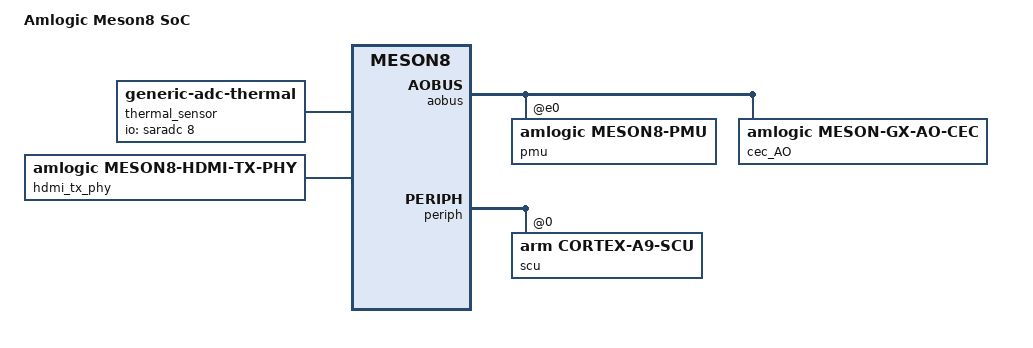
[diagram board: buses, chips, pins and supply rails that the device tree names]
// SPDX-License-Identifier: GPL-2.0 OR MIT
/*
 * Copyright 2014 Carlo Caione <carlo@caione.org>
 */

#include <dt-bindings/clock/meson8-ddr-clkc.h>
#include <dt-bindings/clock/meson8b-clkc.h>
#include <dt-bindings/gpio/meson8-gpio.h>
#include <dt-bindings/power/meson8-power.h>
#include <dt-bindings/reset/amlogic,meson8b-clkc-reset.h>
#include <dt-bindings/reset/amlogic,meson8b-reset.h>
#include <dt-bindings/thermal/thermal.h>
#include "meson.dtsi"

/ {
	model = "Amlogic Meson8 SoC";
	compatible = "amlogic,meson8";

	cpus {
		#address-cells = <1>;
		#size-cells = <0>;

		cpu0: cpu@200 {
			device_type = "cpu";
			compatible = "arm,cortex-a9";
			next-level-cache = <&L2>;
			reg = <0x200>;
			enable-method = "amlogic,meson8-smp";
			resets = <&clkc CLKC_RESET_CPU0_SOFT_RESET>;
			operating-points-v2 = <&cpu_opp_table>;
			clocks = <&clkc CLKID_CPUCLK>;
			#cooling-cells = <2>; /* min followed by max */
		};

		cpu1: cpu@201 {
			device_type = "cpu";
			compatible = "arm,cortex-a9";
			next-level-cache = <&L2>;
			reg = <0x201>;
			enable-method = "amlogic,meson8-smp";
			resets = <&clkc CLKC_RESET_CPU1_SOFT_RESET>;
			operating-points-v2 = <&cpu_opp_table>;
			clocks = <&clkc CLKID_CPUCLK>;
			#cooling-cells = <2>; /* min followed by max */
		};

		cpu2: cpu@202 {
			device_type = "cpu";
			compatible = "arm,cortex-a9";
			next-level-cache = <&L2>;
			reg = <0x202>;
			enable-method = "amlogic,meson8-smp";
			resets = <&clkc CLKC_RESET_CPU2_SOFT_RESET>;
			operating-points-v2 = <&cpu_opp_table>;
			clocks = <&clkc CLKID_CPUCLK>;
			#cooling-cells = <2>; /* min followed by max */
		};

		cpu3: cpu@203 {
			device_type = "cpu";
			compatible = "arm,cortex-a9";
			next-level-cache = <&L2>;
			reg = <0x203>;
			enable-method = "amlogic,meson8-smp";
			resets = <&clkc CLKC_RESET_CPU3_SOFT_RESET>;
			operating-points-v2 = <&cpu_opp_table>;
			clocks = <&clkc CLKID_CPUCLK>;
			#cooling-cells = <2>; /* min followed by max */
		};
	};

	cpu_opp_table: opp-table {
		compatible = "operating-points-v2";
		opp-shared;

		opp-96000000 {
			opp-hz = /bits/ 64 <96000000>;
			opp-microvolt = <825000>;
		};
		opp-192000000 {
			opp-hz = /bits/ 64 <192000000>;
			opp-microvolt = <825000>;
		};
		opp-312000000 {
			opp-hz = /bits/ 64 <312000000>;
			opp-microvolt = <825000>;
		};
		opp-408000000 {
			opp-hz = /bits/ 64 <408000000>;
			opp-microvolt = <825000>;
		};
		opp-504000000 {
			opp-hz = /bits/ 64 <504000000>;
			opp-microvolt = <825000>;
		};
		opp-600000000 {
			opp-hz = /bits/ 64 <600000000>;
			opp-microvolt = <850000>;
		};
		opp-720000000 {
			opp-hz = /bits/ 64 <720000000>;
			opp-microvolt = <850000>;
		};
		opp-816000000 {
			opp-hz = /bits/ 64 <816000000>;
			opp-microvolt = <875000>;
		};
		opp-1008000000 {
			opp-hz = /bits/ 64 <1008000000>;
			opp-microvolt = <925000>;
		};
		opp-1200000000 {
			opp-hz = /bits/ 64 <1200000000>;
			opp-microvolt = <975000>;
		};
		opp-1416000000 {
			opp-hz = /bits/ 64 <1416000000>;
			opp-microvolt = <1025000>;
		};
		opp-1608000000 {
			opp-hz = /bits/ 64 <1608000000>;
			opp-microvolt = <1100000>;
		};
		opp-1800000000 {
			status = "disabled";
			opp-hz = /bits/ 64 <1800000000>;
			opp-microvolt = <1125000>;
		};
		opp-1992000000 {
			status = "disabled";
			opp-hz = /bits/ 64 <1992000000>;
			opp-microvolt = <1150000>;
		};
	};

	gpu_opp_table: gpu-opp-table {
		compatible = "operating-points-v2";

		opp-182142857 {
			opp-hz = /bits/ 64 <182142857>;
			opp-microvolt = <1150000>;
		};
		opp-318750000 {
			opp-hz = /bits/ 64 <318750000>;
			opp-microvolt = <1150000>;
		};
		opp-425000000 {
			opp-hz = /bits/ 64 <425000000>;
			opp-microvolt = <1150000>;
		};
		opp-510000000 {
			opp-hz = /bits/ 64 <510000000>;
			opp-microvolt = <1150000>;
		};
		opp-637500000 {
			opp-hz = /bits/ 64 <637500000>;
			opp-microvolt = <1150000>;
			turbo-mode;
		};
	};

	pmu {
		compatible = "arm,cortex-a9-pmu";
		interrupts = <GIC_SPI 137 IRQ_TYPE_LEVEL_HIGH>,
			     <GIC_SPI 138 IRQ_TYPE_LEVEL_HIGH>,
			     <GIC_SPI 153 IRQ_TYPE_LEVEL_HIGH>,
			     <GIC_SPI 154 IRQ_TYPE_LEVEL_HIGH>;
		interrupt-affinity = <&cpu0>, <&cpu1>, <&cpu2>, <&cpu3>;
	};

	reserved-memory {
		#address-cells = <1>;
		#size-cells = <1>;
		ranges;

		/* 2 MiB reserved for Hardware ROM Firmware? */
		hwrom@0 {
			reg = <0x0 0x200000>;
			no-map;
		};

		/*
		 * 1 MiB reserved for the "ARM Power Firmware": this is ARM
		 * code which is responsible for system suspend. It loads a
		 * piece of ARC code ("arc_power" in the vendor u-boot tree)
		 * into SRAM, executes that and shuts down the (last) ARM core.
		 * The arc_power firmware then checks various wakeup sources
		 * (IR remote receiver, HDMI CEC, WIFI and Bluetooth wakeup or
		 * simply the power key) and re-starts the ARM core once it
		 * detects a wakeup request.
		 */
		power-firmware@4f00000 {
			reg = <0x4f00000 0x100000>;
			no-map;
		};
	};

	thermal_sensor: thermal-sensor {
		compatible = "generic-adc-thermal";
		#thermal-sensor-cells = <0>;
		io-channels = <&saradc 8>;
		io-channel-names = "sensor-channel";
	};

	thermal-zones {
		soc {
			/* milliseconds */
			polling-delay-passive = <250>;
			polling-delay = <1000>;
			thermal-sensors = <&thermal_sensor>;

			cooling-maps {
				map0 {
					trip = <&soc_alert0>;
					cooling-device = <&cpu0 THERMAL_NO_LIMIT THERMAL_NO_LIMIT>,
							 <&cpu1 THERMAL_NO_LIMIT THERMAL_NO_LIMIT>,
							 <&cpu2 THERMAL_NO_LIMIT THERMAL_NO_LIMIT>,
							 <&cpu3 THERMAL_NO_LIMIT THERMAL_NO_LIMIT>,
							 <&mali 1 THERMAL_NO_LIMIT>;
				};
				map1 {
					trip = <&soc_alert1>;
					cooling-device = <&cpu0 2 THERMAL_NO_LIMIT>,
							 <&cpu1 2 THERMAL_NO_LIMIT>,
							 <&cpu2 2 THERMAL_NO_LIMIT>,
							 <&cpu3 2 THERMAL_NO_LIMIT>,
							 <&mali 2 THERMAL_NO_LIMIT>;
				};
				map2 {
					trip = <&soc_alert2>;
					cooling-device = <&cpu0 4 THERMAL_NO_LIMIT>,
							 <&cpu1 4 THERMAL_NO_LIMIT>,
							 <&cpu2 4 THERMAL_NO_LIMIT>,
							 <&cpu3 4 THERMAL_NO_LIMIT>,
							 <&mali 3 THERMAL_NO_LIMIT>;
				};
			};

			trips {
				soc_alert0: soc-alert0 {
					/* milliCelsius */
					temperature = <70000>;
					hysteresis = <2000>;
					type = "passive";
				};

				soc_alert1: soc-alert1 {
					/* milliCelsius */
					temperature = <80000>;
					hysteresis = <2000>;
					type = "passive";
				};

				soc_alert2: soc-alert2 {
					/* milliCelsius */
					temperature = <90000>;
					hysteresis = <2000>;
					type = "hot";
				};

				soc_crit: soc-crit {
					/* milliCelsius */
					temperature = <100000>;
					hysteresis = <2000>;
					type = "critical";
				};
			};
		};
	};

	mmcbus: bus@c8000000 {
		compatible = "simple-bus";
		reg = <0xc8000000 0x8000>;
		#address-cells = <1>;
		#size-cells = <1>;
		ranges = <0x0 0xc8000000 0x8000>;

		ddr_clkc: clock-controller@400 {
			compatible = "amlogic,meson8-ddr-clkc";
			reg = <0x400 0x20>;
			clocks = <&xtal>;
			clock-names = "xtal";
			#clock-cells = <1>;
		};

		dmcbus: bus@6000 {
			compatible = "simple-bus";
			reg = <0x6000 0x400>;
			#address-cells = <1>;
			#size-cells = <1>;
			ranges = <0x0 0x6000 0x400>;

			canvas: video-lut@20 {
				compatible = "amlogic,meson8-canvas",
					     "amlogic,canvas";
				reg = <0x20 0x14>;
			};
		};
	};

	apb: bus@d0000000 {
		compatible = "simple-bus";
		reg = <0xd0000000 0x200000>;
		#address-cells = <1>;
		#size-cells = <1>;
		ranges = <0x0 0xd0000000 0x200000>;

		mali: gpu@c0000 {
			compatible = "amlogic,meson8-mali", "arm,mali-450";
			reg = <0xc0000 0x40000>;
			interrupts = <GIC_SPI 160 IRQ_TYPE_LEVEL_HIGH>,
				     <GIC_SPI 161 IRQ_TYPE_LEVEL_HIGH>,
				     <GIC_SPI 162 IRQ_TYPE_LEVEL_HIGH>,
				     <GIC_SPI 163 IRQ_TYPE_LEVEL_HIGH>,
				     <GIC_SPI 164 IRQ_TYPE_LEVEL_HIGH>,
				     <GIC_SPI 165 IRQ_TYPE_LEVEL_HIGH>,
				     <GIC_SPI 166 IRQ_TYPE_LEVEL_HIGH>,
				     <GIC_SPI 167 IRQ_TYPE_LEVEL_HIGH>,
				     <GIC_SPI 168 IRQ_TYPE_LEVEL_HIGH>,
				     <GIC_SPI 169 IRQ_TYPE_LEVEL_HIGH>,
				     <GIC_SPI 170 IRQ_TYPE_LEVEL_HIGH>,
				     <GIC_SPI 171 IRQ_TYPE_LEVEL_HIGH>,
				     <GIC_SPI 172 IRQ_TYPE_LEVEL_HIGH>,
				     <GIC_SPI 173 IRQ_TYPE_LEVEL_HIGH>,
				     <GIC_SPI 174 IRQ_TYPE_LEVEL_HIGH>,
				     <GIC_SPI 175 IRQ_TYPE_LEVEL_HIGH>,
				     <GIC_SPI 176 IRQ_TYPE_LEVEL_HIGH>,
				     <GIC_SPI 177 IRQ_TYPE_LEVEL_HIGH>;
			interrupt-names = "gp", "gpmmu", "pp", "pmu",
					  "pp0", "ppmmu0", "pp1", "ppmmu1",
					  "pp2", "ppmmu2", "pp4", "ppmmu4",
					  "pp5", "ppmmu5", "pp6", "ppmmu6";
			resets = <&reset RESET_MALI>;
			clocks = <&clkc CLKID_CLK81>, <&clkc CLKID_MALI>;
			clock-names = "bus", "core";
			operating-points-v2 = <&gpu_opp_table>;
			#cooling-cells = <2>; /* min followed by max */
		};

		hdmi_tx: hdmi-tx@42000 {
			compatible = "amlogic,meson8-hdmi-tx";
			reg = <0x42000 0xc>;
			interrupts = <GIC_SPI 57 IRQ_TYPE_EDGE_RISING>;
			clocks = <&clkc CLKID_HDMI_PCLK>,
				 <&clkc CLKID_HDMI_SYS>;
			clock-names = "pclk", "sys";
			phys = <&hdmi_tx_phy>;
			phy-names = "hdmi";
			#address-cells = <1>;
			#size-cells = <0>;
			status = "disabled";

			/* VPU VENC Input */
			hdmi_tx_venc_port: port@0 {
				reg = <0>;

				hdmi_tx_in: endpoint {
					remote-endpoint = <&hdmi_tx_out>;
				};
			};

			/* TMDS Output */
			hdmi_tx_tmds_port: port@1 {
				reg = <1>;
			};
		};

		vpu: vpu@100000 {
			compatible = "amlogic,meson8-vpu";

			reg = <0x100000 0x10000>;
			reg-names = "vpu";

			interrupts = <GIC_SPI 3 IRQ_TYPE_EDGE_RISING>;

			amlogic,canvas = <&canvas>;
			amlogic,hhi-sysctrl = <&hhi>;

			clocks = <&clkc CLKID_VPU_INTR>,
				 <&clkc CLKID_HDMI_INTR_SYNC>,
				 <&clkc CLKID_GCLK_VENCI_INT>,
				 <&clkc CLKID_HDMI_PLL_DCO>,
				 <&clkc CLKID_HDMI_PLL_LVDS_OUT>,
				 <&clkc CLKID_HDMI_PLL_HDMI_OUT>,
				 <&clkc CLKID_PLL_VID>,
				 <&clkc CLKID_VID_PLL_FINAL_DIV>,
				 <&clkc CLKID_HDMI_TX_PIXEL>,
				 <&clkc CLKID_CTS_ENCP>,
				 <&clkc CLKID_CTS_ENCI>,
				 <&clkc CLKID_CTS_ENCT>,
				 <&clkc CLKID_CTS_ENCL>,
				 <&clkc CLKID_CTS_VDAC0>;
			clock-names = "vpu_intr",
				      "hdmi_intr_sync",
				      "venci_int",
				      "hdmi_pll_dco",
				      "hdmi_pll_lvds_od",
				      "hdmi_pll_hdmi_od",
				      "vid_pll",
				      "vid_pll_final_div",
				      "hdmi_tx_pixel",
				      "cts_encp",
				      "cts_enci",
				      "cts_enct",
				      "cts_encl",
				      "vdac";

			resets = <&clkc CLKC_RESET_VID_DIVIDER_CNTL_RESET_N_PRE>,
				 <&clkc CLKC_RESET_VID_DIVIDER_CNTL_RESET_N_POST>,
				 <&clkc CLKC_RESET_VID_DIVIDER_CNTL_SOFT_RESET_PRE>,
				 <&clkc CLKC_RESET_VID_DIVIDER_CNTL_SOFT_RESET_POST>;
			reset-names = "vid_pll_pre",
				      "vid_pll_post",
				      "vid_pll_soft_pre",
				      "vid_pll_soft_post";

			power-domains = <&pwrc PWRC_MESON8_VPU_ID>;

			nvmem-cells = <&cvbs_trimming>;
			nvmem-cell-names = "cvbs_trimming";

			assigned-clocks = <&clkc CLKID_HDMI_PLL_DCO>,
					  <&clkc CLKID_HDMI_PLL_LVDS_OUT>,
					  <&clkc CLKID_HDMI_PLL_HDMI_OUT>,
					  <&clkc CLKID_PLL_VID>,
					  <&clkc CLKID_VID_PLL_FINAL_DIV>,
					  <&clkc CLKID_HDMI_TX_PIXEL>,
					  <&clkc CLKID_CTS_ENCP>,
					  <&clkc CLKID_CTS_ENCI>,
					  <&clkc CLKID_CTS_ENCT>,
					  <&clkc CLKID_CTS_ENCL>,
					  <&clkc CLKID_CTS_VDAC0>;
			assigned-clock-rates = <1296000000>, /* CLKID_HDMI_PLL_DCO */
					       <1296000000>, /* CLKID_HDMI_PLL_LVDS_OUT */
						<324000000>, /* CLKID_HDMI_PLL_HDMI_OUT */
						<216000000>, /* CLKID_PLL_VID */
						 <54000000>, /* CLKID_VID_PLL_FINAL_DIV */
						 <27000000>, /* CLKID_HDMI_TX_PIXEL */
						 <54000000>, /* CLKID_CTS_ENCP */
						 <27000000>, /* CLKID_CTS_ENCI */
						 <54000000>, /* CLKID_CTS_ENCT */
						 <54000000>, /* CLKID_CTS_ENCL */
						 <27000000>; /* CLKID_CTS_VDAC0 */

			#address-cells = <1>;
			#size-cells = <0>;

			/* CVBS VDAC output port */
			cvbs_vdac_port: port@0 {
				reg = <0>;
			};

			/* HDMI-TX output port */
			hdmi_tx_port: port@1 {
				reg = <1>;

				hdmi_tx_out: endpoint {
					remote-endpoint = <&hdmi_tx_in>;
				};
			};
		};
	};
}; /* end of / */

&aobus {
	pmu: pmu@e0 {
		compatible = "amlogic,meson8-pmu", "syscon";
		reg = <0xe0 0x18>;
	};

	pinctrl_aobus: pinctrl@84 {
		compatible = "amlogic,meson8-aobus-pinctrl";
		reg = <0x84 0xc>;
		#address-cells = <1>;
		#size-cells = <1>;
		ranges;

		gpio_ao: ao-bank@14 {
			reg = <0x14 0x4>,
			      <0x2c 0x4>,
			      <0x24 0x8>;
			reg-names = "mux", "pull", "gpio";
			gpio-controller;
			#gpio-cells = <2>;
			gpio-ranges = <&pinctrl_aobus 0 0 16>;
		};

		hdmi_cec_ao_pins: hdmi-cec-ao {
			mux {
				groups = "hdmi_cec_ao";
				function = "hdmi_cec_ao";
				bias-pull-up;
			};
		};

		i2s_am_clk_pins: i2s-am-clk-out {
			mux {
				groups = "i2s_am_clk_out_ao";
				function = "i2s_ao";
				bias-disable;
			};
		};

		i2s_out_ao_clk_pins: i2s-ao-clk-out {
			mux {
				groups = "i2s_ao_clk_out_ao";
				function = "i2s_ao";
				bias-disable;
			};
		};

		i2s_out_lr_clk_pins: i2s-lr-clk-out {
			mux {
				groups = "i2s_lr_clk_out_ao";
				function = "i2s_ao";
				bias-disable;
			};
		};

		i2s_out_ch01_ao_pins: i2s-out-ch01 {
			mux {
				groups = "i2s_out_ch01_ao";
				function = "i2s_ao";
				bias-disable;
			};
		};

		uart_ao_a_pins: uart_ao_a {
			mux {
				groups = "uart_tx_ao_a", "uart_rx_ao_a";
				function = "uart_ao";
				bias-disable;
			};
		};

		i2c_ao_pins: i2c_mst_ao {
			mux {
				groups = "i2c_mst_sck_ao", "i2c_mst_sda_ao";
				function = "i2c_mst_ao";
				bias-disable;
			};
		};

		ir_recv_pins: remote {
			mux {
				groups = "remote_input";
				function = "remote";
				bias-disable;
			};
		};

		pwm_f_ao_pins: pwm-f-ao {
			mux {
				groups = "pwm_f_ao";
				function = "pwm_f_ao";
				bias-disable;
			};
		};
	};

	cec_AO: cec@100 {
		compatible = "amlogic,meson-gx-ao-cec"; // FIXME
		reg = <0x100 0x14>;
		interrupts = <GIC_SPI 151 IRQ_TYPE_EDGE_RISING>;
		// TODO: 32768HZ clock
		hdmi-phandle = <&hdmi_tx>;
	};
};

&aiu {
	compatible = "amlogic,aiu-meson8", "amlogic,aiu";
	clocks = <&clkc CLKID_AIU_GLUE>,
		 <&clkc CLKID_I2S_OUT>,
		 <&clkc CLKID_AOCLK_GATE>,
		 <&clkc CLKID_CTS_AMCLK>,
		 <&clkc CLKID_MIXER_IFACE>,
		 <&clkc CLKID_IEC958>,
		 <&clkc CLKID_IEC958_GATE>,
		 <&clkc CLKID_CTS_MCLK_I958>,
		 <&clkc CLKID_CTS_I958>;
	clock-names = "pclk",
		      "i2s_pclk",
		      "i2s_aoclk",
		      "i2s_mclk",
		      "i2s_mixer",
		      "spdif_pclk",
		      "spdif_aoclk",
		      "spdif_mclk",
		      "spdif_mclk_sel";
	resets = <&reset RESET_AIU>;
};

&cbus {
	reset: reset-controller@4404 {
		compatible = "amlogic,meson8b-reset";
		reg = <0x4404 0x9c>;
		#reset-cells = <1>;
	};

	analog_top: analog-top@81a8 {
		compatible = "amlogic,meson8-analog-top", "syscon";
		reg = <0x81a8 0x14>;
	};

	pwm_ef: pwm@86c0 {
		compatible = "amlogic,meson8-pwm", "amlogic,meson8b-pwm";
		reg = <0x86c0 0x10>;
		#pwm-cells = <3>;
		status = "disabled";
	};

	clock-measure@8758 {
		compatible = "amlogic,meson8-clk-measure";
		reg = <0x8758 0x1c>;
	};

	pinctrl_cbus: pinctrl@9880 {
		compatible = "amlogic,meson8-cbus-pinctrl";
		reg = <0x9880 0x10>;
		#address-cells = <1>;
		#size-cells = <1>;
		ranges;

		gpio: banks@80b0 {
			reg = <0x80b0 0x28>,
			      <0x80e8 0x18>,
			      <0x8120 0x18>,
			      <0x8030 0x30>;
			reg-names = "mux", "pull", "pull-enable", "gpio";
			gpio-controller;
			#gpio-cells = <2>;
			gpio-ranges = <&pinctrl_cbus 0 0 120>;
		};

		hdmi_hpd_pins: hdmi-hpd {
			mux {
				groups = "hdmi_hpd";
				function = "hdmi";
				bias-disable;
			};
		};

		hdmi_i2c_pins: hdmi-i2c {
			mux {
				groups = "hdmi_sda", "hdmi_scl";
				function = "hdmi";
				bias-disable;
			};
		};

		sd_a_pins: sd-a {
			mux {
				groups = "sd_d0_a", "sd_d1_a", "sd_d2_a",
					"sd_d3_a", "sd_clk_a", "sd_cmd_a";
				function = "sd_a";
				bias-disable;
			};
		};

		sd_b_pins: sd-b {
			mux {
				groups = "sd_d0_b", "sd_d1_b", "sd_d2_b",
					"sd_d3_b", "sd_clk_b", "sd_cmd_b";
				function = "sd_b";
				bias-disable;
			};
		};

		sd_c_pins: sd-c {
			mux {
				groups = "sd_d0_c", "sd_d1_c", "sd_d2_c",
					"sd_d3_c", "sd_clk_c", "sd_cmd_c";
				function = "sd_c";
				bias-disable;
			};
		};

		sdxc_b_pins: sdxc-b {
			mux {
				groups = "sdxc_d0_b", "sdxc_d13_b",
					 "sdxc_clk_b", "sdxc_cmd_b";
				function = "sdxc_b";
				bias-pull-up;
			};
		};

		spdif_out_pins: spdif-out {
			mux {
				groups = "spdif_out";
				function = "spdif";
				bias-disable;
			};
		};

		spi_nor_pins: nor {
			mux {
				groups = "nor_d", "nor_q", "nor_c", "nor_cs";
				function = "nor";
				bias-disable;
			};
		};

		eth_pins: ethernet {
			mux {
				groups = "eth_tx_clk_50m", "eth_tx_en",
					 "eth_txd1", "eth_txd0",
					 "eth_rx_clk_in", "eth_rx_dv",
					 "eth_rxd1", "eth_rxd0", "eth_mdio",
					 "eth_mdc";
				function = "ethernet";
				bias-disable;
			};
		};

		pwm_e_pins: pwm-e {
			mux {
				groups = "pwm_e";
				function = "pwm_e";
				bias-disable;
			};
		};

		uart_a1_pins: uart-a1 {
			mux {
				groups = "uart_tx_a1",
				       "uart_rx_a1";
				function = "uart_a";
				bias-disable;
			};
		};

		uart_a1_cts_rts_pins: uart-a1-cts-rts {
			mux {
				groups = "uart_cts_a1",
				       "uart_rts_a1";
				function = "uart_a";
				bias-disable;
			};
		};

		xtal_32k_out_pins: xtal-32k-out {
			mux {
				groups = "xtal_32k_out";
				function = "xtal";
				bias-disable;
			};
		};
	};
};

&ahb_sram {
	smp-sram@1ff80 {
		compatible = "amlogic,meson8-smp-sram";
		reg = <0x1ff80 0x8>;
	};
};

&efuse {
	compatible = "amlogic,meson8-efuse";
	clocks = <&clkc CLKID_EFUSE>;
	clock-names = "core";

	temperature_calib: calib@1f4 {
		/* only the upper two bytes are relevant */
		reg = <0x1f4 0x4>;
	};

	cvbs_trimming: calib@1f8 {
		reg = <0x1f8 0x2>;
	};
};

&ethmac {
	clocks = <&clkc CLKID_ETH>;
	clock-names = "stmmaceth";

	power-domains = <&pwrc PWRC_MESON8_ETHERNET_MEM_ID>;
};

&gpio_intc {
	compatible = "amlogic,meson8-gpio-intc", "amlogic,meson-gpio-intc";
	status = "okay";
};

&hhi {
	clkc: clock-controller {
		compatible = "amlogic,meson8-clkc";
		clocks = <&xtal>, <&ddr_clkc DDR_CLKID_DDR_PLL>;
		clock-names = "xtal", "ddr_pll";
		#clock-cells = <1>;
		#reset-cells = <1>;
	};

	hdmi_tx_phy: phy {
		compatible = "amlogic,meson8-hdmi-tx-phy";
		clocks = <&clkc CLKID_HDMI_PLL_HDMI_OUT>;
		#phy-cells = <0>;
	};

	pwrc: power-controller {
		compatible = "amlogic,meson8-pwrc";
		#power-domain-cells = <1>;
		amlogic,ao-sysctrl = <&pmu>;
		clocks = <&clkc CLKID_VPU>;
		clock-names = "vpu";
		assigned-clocks = <&clkc CLKID_VPU>;
		assigned-clock-rates = <364285714>;
	};
};

&hwrng {
	compatible = "amlogic,meson8-rng", "amlogic,meson-rng";
	clocks = <&clkc CLKID_RNG0>;
	clock-names = "core";
};

&i2c_AO {
	clocks = <&clkc CLKID_CLK81>;
};

&i2c_A {
	clocks = <&clkc CLKID_CLK81>;
};

&i2c_B {
	clocks = <&clkc CLKID_CLK81>;
};

&L2 {
	arm,data-latency = <3 3 3>;
	arm,tag-latency = <2 2 2>;
	arm,filter-ranges = <0x100000 0xc0000000>;
	prefetch-data = <1>;
	prefetch-instr = <1>;
	arm,shared-override;
};

&periph {
	scu@0 {
		compatible = "arm,cortex-a9-scu";
		reg = <0x0 0x100>;
	};

	timer@200 {
		compatible = "arm,cortex-a9-global-timer";
		reg = <0x200 0x20>;
		interrupts = <GIC_PPI 11 (GIC_CPU_MASK_SIMPLE(4) | IRQ_TYPE_EDGE_RISING)>;
		clocks = <&clkc CLKID_PERIPH>;

		/*
		 * the arm_global_timer driver currently does not handle clock
		 * rate changes. Keep it disabled for now.
		 */
		status = "disabled";
	};

	timer@600 {
		compatible = "arm,cortex-a9-twd-timer";
		reg = <0x600 0x20>;
		interrupts = <GIC_PPI 13 (GIC_CPU_MASK_SIMPLE(4) | IRQ_TYPE_EDGE_RISING)>;
		clocks = <&clkc CLKID_PERIPH>;
	};
};

&pwm_ab {
	compatible = "amlogic,meson8-pwm", "amlogic,meson8b-pwm";
};

&pwm_cd {
	compatible = "amlogic,meson8-pwm", "amlogic,meson8b-pwm";
};

&rtc {
	compatible = "amlogic,meson8-rtc";
	resets = <&reset RESET_RTC>;
};

&saradc {
	compatible = "amlogic,meson8-saradc", "amlogic,meson-saradc";
	clocks = <&xtal>, <&clkc CLKID_SAR_ADC>;
	clock-names = "clkin", "core";
	amlogic,hhi-sysctrl = <&hhi>;
	nvmem-cells = <&temperature_calib>;
	nvmem-cell-names = "temperature_calib";
};

&sdhc {
	compatible = "amlogic,meson8-sdhc", "amlogic,meson-mx-sdhc";
	clocks = <&xtal>,
		 <&clkc CLKID_FCLK_DIV4>,
		 <&clkc CLKID_FCLK_DIV3>,
		 <&clkc CLKID_FCLK_DIV5>,
		 <&clkc CLKID_SDHC>;
	clock-names = "clkin0", "clkin1", "clkin2", "clkin3", "pclk";
};

&sdio {
	compatible = "amlogic,meson8-sdio", "amlogic,meson-mx-sdio";
	clocks = <&clkc CLKID_SDIO>, <&clkc CLKID_CLK81>;
	clock-names = "core", "clkin";
};

&spifc {
	clocks = <&clkc CLKID_CLK81>;
};

&timer_abcde {
	clocks = <&xtal>, <&clkc CLKID_CLK81>;
	clock-names = "xtal", "pclk";
};

&uart_AO {
	compatible = "amlogic,meson8-uart", "amlogic,meson-uart";
	clocks = <&clkc CLKID_CLK81>, <&xtal>, <&clkc CLKID_CLK81>;
	clock-names = "baud", "xtal", "pclk";
};

&uart_A {
	compatible = "amlogic,meson8-uart", "amlogic,meson-uart";
	clocks = <&clkc CLKID_CLK81>, <&xtal>, <&clkc CLKID_UART0>;
	clock-names = "baud", "xtal", "pclk";
};

&uart_B {
	compatible = "amlogic,meson8-uart", "amlogic,meson-uart";
	clocks = <&clkc CLKID_CLK81>, <&xtal>, <&clkc CLKID_UART1>;
	clock-names = "baud", "xtal", "pclk";
};

&uart_C {
	compatible = "amlogic,meson8-uart", "amlogic,meson-uart";
	clocks = <&clkc CLKID_CLK81>, <&xtal>, <&clkc CLKID_UART2>;
	clock-names = "baud", "xtal", "pclk";
};

&usb0 {
	compatible = "amlogic,meson8-usb", "snps,dwc2";
	clocks = <&clkc CLKID_USB0_DDR_BRIDGE>;
	clock-names = "otg";
};

&usb1 {
	compatible = "amlogic,meson8-usb", "snps,dwc2";
	clocks = <&clkc CLKID_USB1_DDR_BRIDGE>;
	clock-names = "otg";
};

&usb0_phy {
	compatible = "amlogic,meson8-usb2-phy", "amlogic,meson-mx-usb2-phy";
	clocks = <&clkc CLKID_USB>, <&clkc CLKID_USB0>;
	clock-names = "usb_general", "usb";
	resets = <&reset RESET_USB_OTG>;
};

&usb1_phy {
	compatible = "amlogic,meson8-usb2-phy", "amlogic,meson-mx-usb2-phy";
	clocks = <&clkc CLKID_USB>, <&clkc CLKID_USB1>;
	clock-names = "usb_general", "usb";
	resets = <&reset RESET_USB_OTG>;
};
